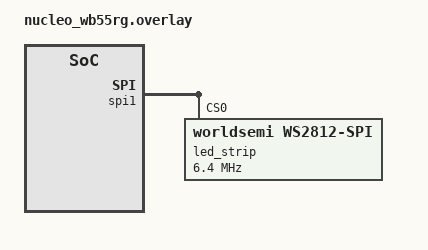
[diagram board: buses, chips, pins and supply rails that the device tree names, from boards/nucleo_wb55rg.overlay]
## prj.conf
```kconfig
# Increased stack due to settings API usage
CONFIG_SYSTEM_WORKQUEUE_STACK_SIZE=2048

CONFIG_BT=y
CONFIG_LOG=y
CONFIG_BT_SMP=y
CONFIG_BT_SIGNING=y
CONFIG_BT_PERIPHERAL=y
CONFIG_BT_DIS=y
CONFIG_BT_ATT_PREPARE_COUNT=5
CONFIG_BT_IAS=y
CONFIG_BT_PRIVACY=y
CONFIG_BT_DEVICE_NAME="ZIDIAN"
CONFIG_BT_DEVICE_APPEARANCE=833
CONFIG_BT_DEVICE_NAME_DYNAMIC=y
CONFIG_BT_DEVICE_NAME_MAX=65

CONFIG_BT_KEYS_OVERWRITE_OLDEST=y
CONFIG_BT_SETTINGS=y
CONFIG_FLASH=y
CONFIG_FLASH_PAGE_LAYOUT=y
CONFIG_FLASH_MAP=y
CONFIG_NVS=y
CONFIG_SETTINGS=y

CONFIG_LED_STRIP=y
CONFIG_LED_STRIP_LOG_LEVEL_DBG=y
CONFIG_WS2812_STRIP=y
CONFIG_ENTROPY_GENERATOR=y
CONFIG_TEST_RANDOM_GENERATOR=y
```

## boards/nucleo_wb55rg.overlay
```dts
/*
 * Copyright (c) 2021, STMicroelectronics
 *
 * SPDX-License-Identifier: Apache-2.0
 */

#include <zephyr/dt-bindings/led/led.h>

&spi1 {
	led_strip: ws2812@0 {
		compatible = "worldsemi,ws2812-spi";

		/* SPI */
		reg = <0>; /* ignored, but necessary for SPI bindings */
		spi-max-frequency = <6400000>;

		/* WS2812 */
		chain-length = <50>; /* arbitrary; change at will */
		spi-cpha;
		spi-one-frame = <0xf0>; /* 11110000: 625 ns high and 625 ns low */
		spi-zero-frame = <0xc0>; /* 11000000: 312.5 ns high and 937.5 ns low */
		color-mapping = <LED_COLOR_ID_GREEN
				 LED_COLOR_ID_RED
				 LED_COLOR_ID_BLUE>;
	};
};

/ {
	aliases {
		led-strip = &led_strip;
	};
};
```

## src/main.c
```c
/* main.c - Application main entry point */

/*
 * Copyright (c) 2015-2016 Intel Corporation
 *
 * SPDX-License-Identifier: Apache-2.0
 */

#include <errno.h>
#include <string.h>

#define LOG_LEVEL 4
#include <zephyr/logging/log.h>
LOG_MODULE_REGISTER(main);

#include <zephyr/types.h>
#include <stddef.h>
#include <string.h>
#include <errno.h>
#include <zephyr/sys/printk.h>
#include <zephyr/sys/byteorder.h>
#include <zephyr/kernel.h>
#include <zephyr/drivers/led_strip.h>
#include <zephyr/device.h>
#include <zephyr/drivers/spi.h>
#include <zephyr/sys/util.h>

#include <zephyr/settings/settings.h>

#include <zephyr/bluetooth/bluetooth.h>
#include <zephyr/bluetooth/hci.h>
#include <zephyr/bluetooth/conn.h>
#include <zephyr/bluetooth/uuid.h>
#include <zephyr/bluetooth/gatt.h>
#include <zephyr/bluetooth/services/ias.h>
#include <zephyr/random/rand32.h>

/* Custom Service Variables */
#define BT_UUID_CUSTOM_SERVICE_VAL \
	BT_UUID_128_ENCODE(0x12345678, 0x1234, 0x5678, 0x1234, 0x56789abcdef0)

static struct bt_uuid_128 vnd_uuid = BT_UUID_INIT_128(
	BT_UUID_CUSTOM_SERVICE_VAL);

static struct bt_uuid_128 vnd_enc_uuid = BT_UUID_INIT_128(
	BT_UUID_128_ENCODE(0x12345678, 0x1234, 0x5678, 0x1234, 0x56789abcdef1));

static struct bt_uuid_128 vnd_auth_uuid = BT_UUID_INIT_128(
	BT_UUID_128_ENCODE(0x12345678, 0x1234, 0x5678, 0x1234, 0x56789abcdef2));

#define VND_MAX_LEN 20

static uint8_t vnd_value[VND_MAX_LEN + 1] = { 'V', 'e', 'n', 'd', 'o', 'r'};
static uint8_t vnd_auth_value[VND_MAX_LEN + 1] = { 'V', 'e', 'n', 'd', 'o', 'r'};
static uint8_t vnd_wwr_value[VND_MAX_LEN + 1] = { 'V', 'e', 'n', 'd', 'o', 'r' };

static ssize_t read_vnd(struct bt_conn *conn, const struct bt_gatt_attr *attr,
			void *buf, uint16_t len, uint16_t offset)
{
	const char *value = attr->user_data;

	return bt_gatt_attr_read(conn, attr, buf, len, offset, value,
				 strlen(value));
}

static ssize_t write_vnd(struct bt_conn *conn, const struct bt_gatt_attr *attr,
			 const void *buf, uint16_t len, uint16_t offset,
			 uint8_t flags)
{
	uint8_t *value = attr->user_data;

	if (offset + len > VND_MAX_LEN) {
		return BT_GATT_ERR(BT_ATT_ERR_INVALID_OFFSET);
	}

	memcpy(value + offset, buf, len);
	value[offset + len] = 0;

	return len;
}

static uint8_t simulate_vnd;
static uint8_t indicating;
static struct bt_gatt_indicate_params ind_params;

static void vnd_ccc_cfg_changed(const struct bt_gatt_attr *attr, uint16_t value)
{
	simulate_vnd = (value == BT_GATT_CCC_INDICATE) ? 1 : 0;
}

static void indicate_cb(struct bt_conn *conn,
			struct bt_gatt_indicate_params *params, uint8_t err)
{
	printk("Indication %s\n", err != 0U ? "fail" : "success");
}

static void indicate_destroy(struct bt_gatt_indicate_params *params)
{
	printk("Indication complete\n");
	indicating = 0U;
}

#define VND_LONG_MAX_LEN 74
static uint8_t vnd_long_value[VND_LONG_MAX_LEN + 1] = {
		  'V', 'e', 'n', 'd', 'o', 'r', ' ', 'd', 'a', 't', 'a', '1',
		  'V', 'e', 'n', 'd', 'o', 'r', ' ', 'd', 'a', 't', 'a', '2',
		  'V', 'e', 'n', 'd', 'o', 'r', ' ', 'd', 'a', 't', 'a', '3',
		  'V', 'e', 'n', 'd', 'o', 'r', ' ', 'd', 'a', 't', 'a', '4',
		  'V', 'e', 'n', 'd', 'o', 'r', ' ', 'd', 'a', 't', 'a', '5',
		  'V', 'e', 'n', 'd', 'o', 'r', ' ', 'd', 'a', 't', 'a', '6',
		  '.', ' ' };

static ssize_t write_long_vnd(struct bt_conn *conn,
			      const struct bt_gatt_attr *attr, const void *buf,
			      uint16_t len, uint16_t offset, uint8_t flags)
{
	uint8_t *value = attr->user_data;

	if (flags & BT_GATT_WRITE_FLAG_PREPARE) {
		return 0;
	}

	if (offset + len > VND_LONG_MAX_LEN) {
		return BT_GATT_ERR(BT_ATT_ERR_INVALID_OFFSET);
	}

	memcpy(value + offset, buf, len);
	value[offset + len] = 0;

	return len;
}

static const struct bt_uuid_128 vnd_long_uuid = BT_UUID_INIT_128(
	BT_UUID_128_ENCODE(0x12345678, 0x1234, 0x5678, 0x1234, 0x56789abcdef3));

static struct bt_gatt_cep vnd_long_cep = {
	.properties = BT_GATT_CEP_RELIABLE_WRITE,
};

static int signed_value;

static ssize_t read_signed(struct bt_conn *conn, const struct bt_gatt_attr *attr,
			   void *buf, uint16_t len, uint16_t offset)
{
	const char *value = attr->user_data;

	return bt_gatt_attr_read(conn, attr, buf, len, offset, value,
				 sizeof(signed_value));
}

static ssize_t write_signed(struct bt_conn *conn, const struct bt_gatt_attr *attr,
			    const void *buf, uint16_t len, uint16_t offset,
			    uint8_t flags)
{
	uint8_t *value = attr->user_data;

	if (offset + len > sizeof(signed_value)) {
		return BT_GATT_ERR(BT_ATT_ERR_INVALID_OFFSET);
	}

	memcpy(value + offset, buf, len);

	return len;
}

static const struct bt_uuid_128 vnd_signed_uuid = BT_UUID_INIT_128(
	BT_UUID_128_ENCODE(0x13345678, 0x1234, 0x5678, 0x1334, 0x56789abcdef3));

static const struct bt_uuid_128 vnd_write_cmd_uuid = BT_UUID_INIT_128(
	BT_UUID_128_ENCODE(0x12345678, 0x1234, 0x5678, 0x1234, 0x56789abcdef4));

static ssize_t write_without_rsp_vnd(struct bt_conn *conn,
				     const struct bt_gatt_attr *attr,
				     const void *buf, uint16_t len, uint16_t offset,
				     uint8_t flags)
{
	uint8_t *value = attr->user_data;

	if (!(flags & BT_GATT_WRITE_FLAG_CMD)) {
		/* Write Request received. Reject it since this Characteristic
		 * only accepts Write Without Response.
		 */
		return BT_GATT_ERR(BT_ATT_ERR_WRITE_REQ_REJECTED);
	}

	if (offset + len > VND_MAX_LEN) {
		return BT_GATT_ERR(BT_ATT_ERR_INVALID_OFFSET);
	}

	memcpy(value + offset, buf, len);
	value[offset + len] = 0;

	return len;
}

/* Vendor Primary Service Declaration */
BT_GATT_SERVICE_DEFINE(vnd_svc,
	BT_GATT_PRIMARY_SERVICE(&vnd_uuid),
	BT_GATT_CHARACTERISTIC(&vnd_enc_uuid.uuid,
			       BT_GATT_CHRC_READ | BT_GATT_CHRC_WRITE |
			       BT_GATT_CHRC_INDICATE,
			       BT_GATT_PERM_READ_ENCRYPT |
			       BT_GATT_PERM_WRITE_ENCRYPT,
			       read_vnd, write_vnd, vnd_value),
	BT_GATT_CCC(vnd_ccc_cfg_changed,
		    BT_GATT_PERM_READ | BT_GATT_PERM_WRITE_ENCRYPT),
	BT_GATT_CHARACTERISTIC(&vnd_auth_uuid.uuid,
			       BT_GATT_CHRC_READ | BT_GATT_CHRC_WRITE,
			       BT_GATT_PERM_READ_AUTHEN |
			       BT_GATT_PERM_WRITE_AUTHEN,
			       read_vnd, write_vnd, vnd_auth_value),
	BT_GATT_CHARACTERISTIC(&vnd_long_uuid.uuid, BT_GATT_CHRC_READ |
			       BT_GATT_CHRC_WRITE | BT_GATT_CHRC_EXT_PROP,
			       BT_GATT_PERM_READ | BT_GATT_PERM_WRITE |
			       BT_GATT_PERM_PREPARE_WRITE,
			       read_vnd, write_long_vnd, &vnd_long_value),
	BT_GATT_CEP(&vnd_long_cep),
	BT_GATT_CHARACTERISTIC(&vnd_signed_uuid.uuid, BT_GATT_CHRC_READ |
			       BT_GATT_CHRC_WRITE | BT_GATT_CHRC_AUTH,
			       BT_GATT_PERM_READ | BT_GATT_PERM_WRITE,
			       read_signed, write_signed, &signed_value),
	BT_GATT_CHARACTERISTIC(&vnd_write_cmd_uuid.uuid,
			       BT_GATT_CHRC_WRITE_WITHOUT_RESP,
			       BT_GATT_PERM_WRITE, NULL,
			       write_without_rsp_vnd, &vnd_wwr_value),
);

static const struct bt_data ad[] = {
	BT_DATA_BYTES(BT_DATA_FLAGS, (BT_LE_AD_GENERAL | BT_LE_AD_NO_BREDR)),
	BT_DATA_BYTES(BT_DATA_UUID16_ALL),
	BT_DATA_BYTES(BT_DATA_UUID128_ALL, BT_UUID_CUSTOM_SERVICE_VAL),
};

/* static const struct bt_data ad[] = {
    BT_DATA_BYTES(BT_DATA_FLAGS, (BT_LE_AD_GENERAL | BT_LE_AD_NO_BREDR)),
    BT_DATA(BT_DATA_NAME_COMPLETE, DEVICE_NAME, DEVICE_NAME_LEN),
}; */

void mtu_updated(struct bt_conn *conn, uint16_t tx, uint16_t rx)
{
	printk("Updated MTU: TX: %d RX: %d bytes\n", tx, rx);
}

static struct bt_gatt_cb gatt_callbacks = {
	.att_mtu_updated = mtu_updated
};

static void connected(struct bt_conn *conn, uint8_t err)
{
	if (err) {
		printk("Connection failed (err 0x%02x)\n", err);
	} else {
		printk("Connected\n");
	}
}

static void disconnected(struct bt_conn *conn, uint8_t reason)
{
	printk("Disconnected (reason 0x%02x)\n", reason);
}

bool on = false;

static void alert_stop(void)
{
	on = false;
}

static void alert_start(void)
{
	on = true;
}

static void alert_high_start(void)
{
	printk("High alert started\n");
}

BT_CONN_CB_DEFINE(conn_callbacks) = {
	.connected = connected,
	.disconnected = disconnected,
};

BT_IAS_CB_DEFINE(ias_callbacks) = {
	.no_alert = alert_stop,
	.mild_alert = alert_start,
	.high_alert = alert_high_start,
};

static void bt_ready(void)
{
	int err;

	printk("Bluetooth initialized\n");

	if (IS_ENABLED(CONFIG_SETTINGS)) {
		settings_load();
	}

	err = bt_le_adv_start(BT_LE_ADV_CONN_NAME, ad, ARRAY_SIZE(ad), NULL, 0);
	if (err) {
		printk("Advertising failed to start (err %d)\n", err);
		return;
	}

	printk("Advertising successfully started\n");
}

static void auth_passkey_display(struct bt_conn *conn, unsigned int passkey)
{
	char addr[BT_ADDR_LE_STR_LEN];

	bt_addr_le_to_str(bt_conn_get_dst(conn), addr, sizeof(addr));

	printk("Passkey for %s: %06u\n", addr, passkey);
}

static void auth_cancel(struct bt_conn *conn)
{
	char addr[BT_ADDR_LE_STR_LEN];

	bt_addr_le_to_str(bt_conn_get_dst(conn), addr, sizeof(addr));

	printk("Pairing cancelled: %s\n", addr);
}

static struct bt_conn_auth_cb auth_cb_display = {
	.passkey_display = auth_passkey_display,
	.passkey_entry = NULL,
	.cancel = auth_cancel,
};

#define STRIP_NODE		DT_ALIAS(led_strip)
#define STRIP_NUM_PIXELS	DT_PROP(DT_ALIAS(led_strip), chain_length)

#define DELAY_TIME_RAW 10
#define DELAY_TIME K_MSEC(DELAY_TIME_RAW)
#define TIKCS_MIN 1
#define TICKS_MAX 8
#define BRIGHTNESS_MIN 0x20
#define BRIGHTNESS_MAX 0x1ff
#define DELAY_MIN 3
#define DELAY_MAX 15
#define MAX_SPARKLES 100

#define RGB(_r, _g, _b) { .r = (_r), .g = (_g), .b = (_b) }

static const struct led_rgb basic_color = RGB(0x0f, 0x00, 0x16);

struct sparkle {
	struct led_rgb center_color;
	struct led_rgb side_color;
	uint8_t ticks;
	uint8_t now_ticks;
	int pos;
	bool active;
};

static const struct sparkle null_sparkle = {
	.center_color = basic_color,
	.side_color = basic_color,
	.ticks = 0,
	.now_ticks = 0,
	.pos = 0,
	.active = false
};

struct sparkle sparkles[MAX_SPARKLES];

struct led_rgb pixels[STRIP_NUM_PIXELS];

static const struct device *const strip = DEVICE_DT_GET(STRIP_NODE);

struct led_rgb color_from_brightness(uint16_t brightness, float coef) {
	uint8_t b = MIN(255, brightness);
	uint8_t r = MIN(255, brightness * coef);
	uint8_t g = MIN(255, MAX(0, brightness - 255));
	struct led_rgb res = RGB(r, g, b);
	return res;
}

void place_sparkle_in_array(struct sparkle sp) {
	for (int i=0; i<MAX_SPARKLES; i++){
		if(sparkles[i].active == false){
			memcpy(&sparkles[i], &sp, sizeof(struct sparkle));
			return;
		}
	}
}

void place_sparkle_in_strip(struct sparkle sp) {
	if(0 <= sp.pos - 1 && sp.pos - 1 < STRIP_NUM_PIXELS){
		memcpy(&pixels[sp.pos - 1], &sp.side_color, sizeof(struct led_rgb));
	}
	if(0 <= sp.pos && sp.pos < STRIP_NUM_PIXELS){
		memcpy(&pixels[sp.pos], &sp.center_color, sizeof(struct led_rgb));
	}
	if(0 <= sp.pos + 1 && sp.pos + 1 < STRIP_NUM_PIXELS){
		memcpy(&pixels[sp.pos + 1], &sp.side_color, sizeof(struct led_rgb));
	}
}

int main(void)
{
	struct bt_gatt_attr *vnd_ind_attr;
	char str[BT_UUID_STR_LEN];
	int err;

	err = bt_enable(NULL);
	if (err) {
		printk("Bluetooth init failed (err %d)\n", err);
		return 0;
	}

	bt_set_name("zidian");

	bt_ready();

	bt_gatt_cb_register(&gatt_callbacks);
	bt_conn_auth_cb_register(&auth_cb_display);

	vnd_ind_attr = bt_gatt_find_by_uuid(vnd_svc.attrs, vnd_svc.attr_count,
					    &vnd_enc_uuid.uuid);
	bt_uuid_to_str(&vnd_enc_uuid.uuid, str, sizeof(str));
	printk("Indicate VND attr %p (UUID %s)\n", vnd_ind_attr, str);
		

	int rc;
	uint8_t counter = 0;
	uint32_t rand;
	int i;
	uint8_t rand_ticks;
	uint8_t rand_delay;
	uint16_t rand_brightness;
	uint16_t interm_brightness;
	struct sparkle new_sparkle;
	int secs_counter = 1000 / DELAY_TIME_RAW;
	int secs_counter_now = secs_counter;

	if (device_is_ready(strip)) {
		LOG_INF("Found LED strip device %s", strip->name);
	} else {
		LOG_ERR("LED strip device %s is not ready", strip->name);
		return 0;
	}
    for (i=0; i<MAX_SPARKLES; i++) {
		memcpy(&sparkles[i], &null_sparkle, sizeof(struct sparkle));
	}
	LOG_INF("Displaying pattern on strip");
	float basic_coef = (float)basic_color.r / basic_color.b;
	while (1) {
		secs_counter_now--;
		if (secs_counter_now == 0) {
			secs_counter_now = secs_counter;

			/* Vendor indication simulation */
			if (simulate_vnd && vnd_ind_attr) {
				if (indicating) {
					continue;
				}

				ind_params.attr = vnd_ind_attr;
				ind_params.func = indicate_cb;
				ind_params.destroy = indicate_destroy;
				ind_params.data = &indicating;
				ind_params.len = sizeof(indicating);

				if (bt_gatt_indicate(NULL, &ind_params) == 0) {
					indicating = 1U;
				}
			}
		}
		if (on) {
			for (i=0; i<STRIP_NUM_PIXELS; i++) {
				memcpy(&pixels[i], &basic_color, sizeof(struct led_rgb));
			}
			if (counter == 0) {
				rand = sys_rand32_get();
				rand_ticks = rand;
				rand >>= 8;
				rand_delay = rand;
				rand >>= 8;
				rand_brightness = rand;
				rand_ticks = rand_ticks % (TICKS_MAX - TIKCS_MIN) + TIKCS_MIN;
				rand_delay = rand_delay % (DELAY_MAX - DELAY_MIN) + DELAY_MIN;
				rand_brightness = rand_brightness % (BRIGHTNESS_MAX - BRIGHTNESS_MIN) + BRIGHTNESS_MIN;
				interm_brightness = (rand_brightness + basic_color.b) / 2;
				new_sparkle.center_color = color_from_brightness(rand_brightness, basic_coef);
				new_sparkle.side_color = color_from_brightness(interm_brightness, basic_coef);
				new_sparkle.ticks = rand_ticks;
				new_sparkle.now_ticks = rand_ticks;
				new_sparkle.pos = 0;
				new_sparkle.active = true;
				place_sparkle_in_array(new_sparkle);
				counter = rand_delay;
			}
			for (i=0; i<MAX_SPARKLES; i++) {
				if (sparkles[i].active) {
					place_sparkle_in_strip(sparkles[i]);
					sparkles[i].now_ticks--;
					if (sparkles[i].now_ticks == 0) {
						sparkles[i].pos++;
						sparkles[i].now_ticks = sparkles[i].ticks;
						if (sparkles[i].pos > STRIP_NUM_PIXELS) {
							sparkles[i].active = false;
						}
					}
				}
			}
			counter--;
		} else {
			memset(&pixels, 0x00, sizeof(pixels));
		}
        rc = led_strip_update_rgb(strip, pixels, STRIP_NUM_PIXELS);

		if (rc) {
			LOG_ERR("couldn't update strip: %d", rc);
		}
		k_sleep(DELAY_TIME);
	}
	return 0;
}
```
